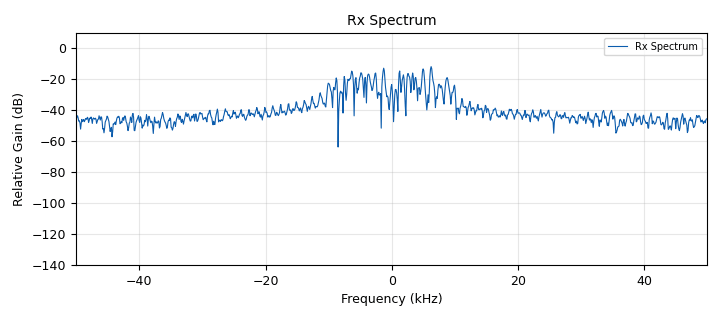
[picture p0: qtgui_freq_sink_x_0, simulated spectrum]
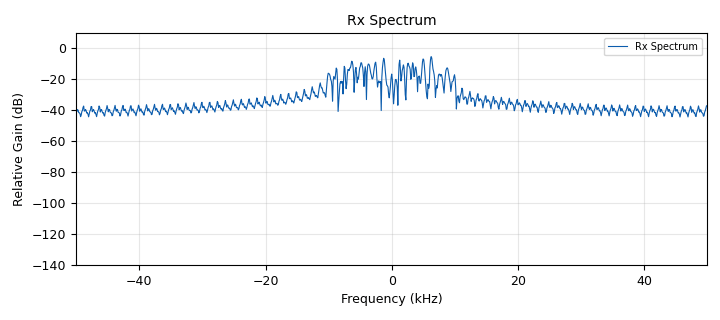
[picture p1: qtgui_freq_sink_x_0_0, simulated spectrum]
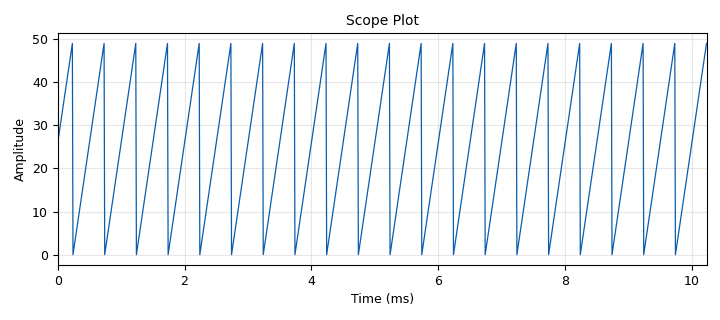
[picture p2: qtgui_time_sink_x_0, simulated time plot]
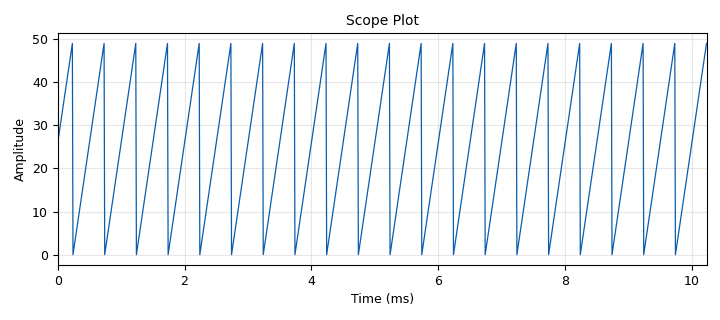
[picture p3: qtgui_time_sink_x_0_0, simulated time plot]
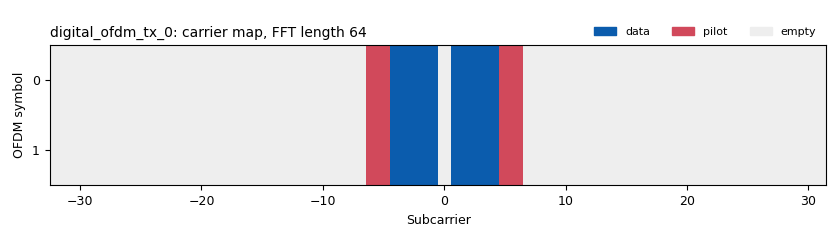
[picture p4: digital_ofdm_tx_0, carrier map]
options:
  parameters:
    category: Custom
    description: Transmit a pre-defined signal (a complex sine) as OFDM packets.
    generate_options: qt_gui
    id: ofdm_sim
    output_language: python
    title: OFDM Simulation
  states: {}

blocks:
- name: fft_len
  id: variable
  parameters:
    value: '64'
  states: {}
- name: freq_offset
  id: variable_qtgui_range
  parameters:
    label: Frequency Offset (Multiples of Sub-carrier spacing)
    start: '-3'
    step: '.01'
    stop: '3'
    value: '0'
  states: {}
- name: len_tag_key
  id: variable
  parameters:
    value: '"packet_len"'
  states: {}
- name: noise_voltage
  id: variable_qtgui_range
  parameters:
    label: Noise Amplitude
    start: '0'
    step: '.01'
    stop: '1'
    value: '0.1'
  states: {}
- name: packet_len
  id: variable
  parameters:
    value: '50'
  states: {}
- name: samp_rate
  id: variable
  parameters:
    value: '100000'
  states: {}
- name: blocks_stream_to_tagged_stream_0
  id: blocks_stream_to_tagged_stream
  parameters:
    len_tag_key: len_tag_key
    packet_len: packet_len
    type: byte
  states: {}
- name: blocks_tag_debug_0
  id: blocks_tag_debug
  parameters:
    display: 'False'
    name: Rx Packets
    type: byte
  states: {}
- name: blocks_throttle2_0
  id: blocks_throttle2
  parameters:
    samples_per_second: samp_rate
    type: complex
  states: {}
- name: blocks_uchar_to_float_0
  id: blocks_uchar_to_float
  parameters: {}
  states: {}
- name: blocks_uchar_to_float_0_0
  id: blocks_uchar_to_float
  parameters: {}
  states: {}
- name: blocks_vector_source_x_0
  id: blocks_vector_source_x
  parameters:
    repeat: 'True'
    tags: ()
    type: byte
    vector: range(packet_len)
  states: {}
- name: channels_channel_model_0
  id: channels_channel_model
  parameters:
    block_tags: 'True'
    epsilon: '1.0'
    freq_offset: freq_offset * 1.0/fft_len
    noise_voltage: noise_voltage
    seed: '0'
    taps: 1.0 + 1.0j
  states: {}
- name: channels_fading_model_0
  id: channels_fading_model
  parameters:
    LOS: 'False'
    N: '8'
    fDTs: 10.0/samp_rate
    seed: '0'
  states: {}
- name: digital_ofdm_rx_0
  id: digital_ofdm_rx
  parameters:
    cp_len: fft_len//4
    fft_len: fft_len
    header_mod: '"BPSK"'
    occupied_carriers: ((-4,-3,-2,-1,1,2,3,4),)
    packet_len_key: '"rx_len"'
    payload_mod: '"QPSK"'
    pilot_carriers: ((-6,-5,5,6),)
    pilot_symbols: ((-1,1,-1,1),)
    sync_word1: None
    sync_word2: None
  states: {}
- name: digital_ofdm_tx_0
  id: digital_ofdm_tx
  parameters:
    cp_len: fft_len//4
    fft_len: fft_len
    header_mod: '"BPSK"'
    occupied_carriers: ((-4,-3,-2,-1,1,2,3,4),)
    packet_len_key: len_tag_key
    payload_mod: '"QPSK"'
    pilot_carriers: ((-6,-5,5,6),)
    pilot_symbols: ((-1,1,-1,1),)
    rolloff: '0'
    sync_word1: None
    sync_word2: None
  states: {}
- name: qtgui_freq_sink_x_0
  id: qtgui_freq_sink_x
  parameters:
    bw: samp_rate
    fc: '0'
    fftsize: '1024'
    label1: Rx Spectrum
    name: Rx Spectrum
    showports: 'True'
    type: complex
  states: {}
- name: qtgui_freq_sink_x_0_0
  id: qtgui_freq_sink_x
  parameters:
    bw: samp_rate
    fc: '0'
    fftsize: '1024'
    label1: Rx Spectrum
    name: Rx Spectrum
    showports: 'True'
    type: complex
  states: {}
- name: qtgui_time_sink_x_0
  id: qtgui_time_sink_x
  parameters:
    autoscale: 'True'
    label1: ''
    name: Scope Plot
    size: '1024'
    srate: samp_rate
    type: float
  states: {}
- name: qtgui_time_sink_x_0_0
  id: qtgui_time_sink_x
  parameters:
    autoscale: 'True'
    label1: ''
    name: Scope Plot
    size: '1024'
    srate: samp_rate
    type: float
  states: {}

connections:
- [blocks_stream_to_tagged_stream_0, '0', blocks_uchar_to_float_0_0, '0']
- [blocks_stream_to_tagged_stream_0, '0', digital_ofdm_tx_0, '0']
- [blocks_throttle2_0, '0', digital_ofdm_rx_0, '0']
- [blocks_throttle2_0, '0', qtgui_freq_sink_x_0, '0']
- [blocks_uchar_to_float_0, '0', qtgui_time_sink_x_0, '0']
- [blocks_uchar_to_float_0_0, '0', qtgui_time_sink_x_0_0, '0']
- [blocks_vector_source_x_0, '0', blocks_stream_to_tagged_stream_0, '0']
- [channels_channel_model_0, '0', blocks_throttle2_0, '0']
- [channels_fading_model_0, '0', channels_channel_model_0, '0']
- [digital_ofdm_rx_0, '0', blocks_tag_debug_0, '0']
- [digital_ofdm_rx_0, '0', blocks_uchar_to_float_0, '0']
- [digital_ofdm_tx_0, '0', channels_fading_model_0, '0']
- [digital_ofdm_tx_0, '0', qtgui_freq_sink_x_0_0, '0']

metadata:
  file_format: 1
  grc_version: 3.10.9.2
